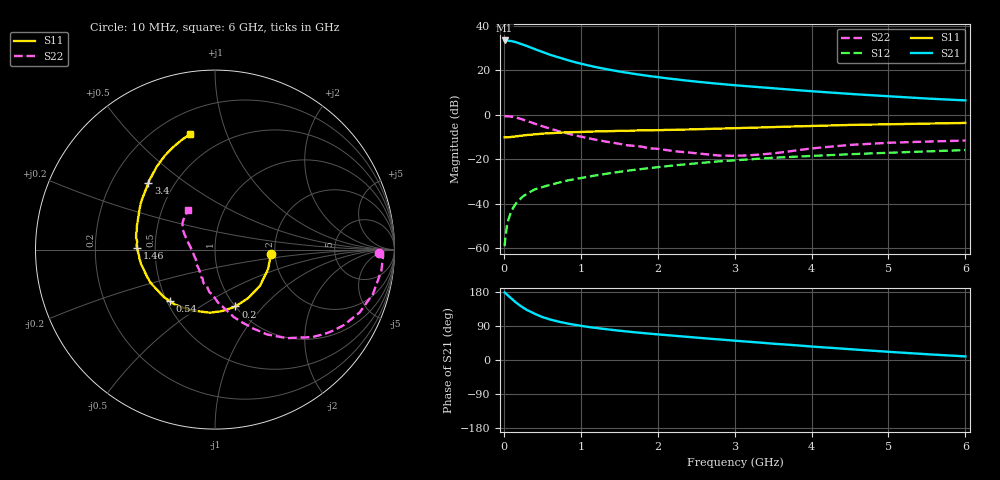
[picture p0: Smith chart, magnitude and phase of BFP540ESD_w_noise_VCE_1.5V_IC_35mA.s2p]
! Infineon Technologies  Discrete & RF Semiconductors
! BFP540ESD
! VCE =  1.5 V,  IC =  35 mA
! Common Emitter S-Parameters:  Nov 2015
# GHz  S  MA  R  50
!  f  S11  S21  S12  S22
! GHz  MAG  ANG  MAG  ANG  MAG  ANG  MAG  ANG
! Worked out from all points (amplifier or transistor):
!   210 points, 10 MHz to 6 GHz, reference 50 ohm
!   highest |S21| = 33.5 dB at 10 MHz (marker M1)
!   |S21| within 3 dB of that: start of sweep to 335.4 MHz
!   unconditionally stable (mu >= 1): start of sweep to 14.04 MHz; 1.647 GHz to end of sweep
!   at 185 MHz: K = 0.30, MSG = 35.7 dB, |S12| = -38.9 dB
!   at 1.52 GHz: K = 0.98, MSG = 22.5 dB, |S12| = -25.6 dB
!   at 6 GHz: K = 1.11, MAG = 9.2 dB, |S12| = -15.9 dB
!   lowest NFmin = 1.52 dB at 900 MHz
!   S11 on the Smith chart (normalised r, x): 10 MHz: 1.90, -0.09; 200 MHz: 1.00, -0.72; 540 MHz: 0.52, -0.35; 1.46 GHz: 0.39, +0.01; 3.4 GHz: 0.36, +0.37; 6 GHz: 0.33, +0.75
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0.01  0.312 -4.1  47.52 178.1  0.0011 109.6  0.9121 -1.1
0.02  0.3111 -8.9  47.08 176.8  0.0017 98.4  0.9375 -2.1
0.05  0.3151 -20.2  47.23 170.8  0.0038 84.9  0.9345 -7.3
0.1  0.3219 -38.9  45.95 161.6  0.0068 78.2  0.9141 -15.7
0.15  0.3274 -55.8  43.87 153.0  0.0097 79.1  0.8791 -23.4
0.2  0.3367 -70.3  41.22 145.1  0.0121 73.3  0.8319 -30.4
0.26  0.3455 -85.4  37.78 136.9  0.015 69.9  0.7713 -37.5
0.3  0.3525 -94.6  35.59 131.9  0.0166 68.0  0.7297 -41.9
0.4  0.366 -112.7  30.41 121.6  0.0208 65.3  0.6359 -50.9
0.5  0.3795 -126.6  26.21 113.3  0.0236 63.6  0.5543 -58.5
0.54  0.3816 -130.9  24.75 111.0  0.0247 63.2  0.5273 -60.6
0.6  0.3886 -137.1  22.65 106.9  0.0264 62.7  0.4883 -64.2
0.78  0.4012 -151.3  18.07 98.1  0.0318 61.3  0.3991 -73.3
1.02  0.4129 -164.9  13.98 89.5  0.0384 61.3  0.317 -82.9
1.2  0.4238 -172.9  11.88 84.4  0.0432 60.3  0.2748 -89.5
1.46  0.4352 178.5  9.766 78.2  0.0508 59.4  0.2295 -99.0
2.02  0.4545 163.3  7.002 67.2  0.067 55.6  0.1701 -116.9
3.1  0.5059 140.5  4.508 49.6  0.0972 46.6  0.121 -164.4
3.4  0.5251 134.9  4.088 44.8  0.1053 43.6  0.1306 -179.9
4.1  0.5689 123.8  3.316 34.2  0.1212 36.8  0.182 155.6
5.1  0.6214 110.9  2.564 20.3  0.1423 27.3  0.2377 138.7
6  0.6581 102.1  2.118 9.4  0.1606 20.0  0.2638 124.3
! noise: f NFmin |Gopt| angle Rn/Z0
0.9  1.52  0.41  -139  0.13
1.8  1.66  0.44  -142  0.13
2.4  1.7  0.44  -132  0.15
3  1.82  0.46  -125  0.19
4  1.87  0.55  -103  0.33
5  2.01  0.6  -88  0.51
6  2.34  0.59  -85  0.77
